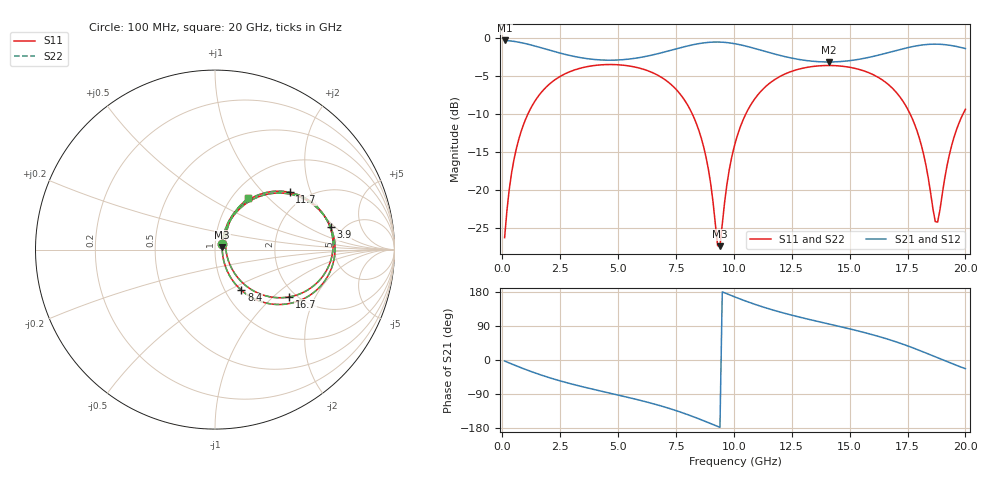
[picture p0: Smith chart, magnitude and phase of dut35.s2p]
! Touchstone file exported from HFSS 2026.1.0
!  File:  C:/ffzhzh/LocalFiles/Ansys_Project_Files/temp_train_TSV_RDL_35_1782964816_15332.aedt
!  Generated:  12:14:12 PM Jul  2, 2026
!  Design:  TSV_RDL
!  Project:  temp_train_TSV_RDL_35_1782964816_15332
! Variables:
!  h_bsmrdl = 4.66um
!  h_ox = 20um
!  h_rdl = 5um
!  h_sub = 74.37um
!  h_tmrdl = 4.17um
!  h_tsv = 74.37um
!  h_via = 3um
!  l_bsmrdl = 741.88um
!  l_sub = 6374.07um
!  l_tmrdl = 917.9um
!  m_sub = 200um
!  pitch = 56.08um
!  r_tsv = 12.53um
!  s_tmrdl = 10um
!  w_bsmrdl = 13.08um
!  w_sub = 500um
!  w_tmrdl = 12.53um
!  x_tsv_center1 = 924.165um
!  x_tsv_center2 = 1679.125um
!  x_tsv_center3 = 2609.555um
!  x_tsv_center4 = 3364.515um
!  x_tsv_center5 = 4294.945um
!  x_tsv_center6 = 5049.905um
# GHz S MA R 50.000000
! Terminal data exported
! Port[1] = TM_RDL1_1_T1
! Port[2] = TM_RDL5_1_T1
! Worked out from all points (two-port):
!   200 points, 100 MHz to 20 GHz, reference 50 ohm
!   highest |S21| = -0.33 dB at 100 MHz (marker M1); lowest = -3.2 dB at 14.1 GHz (marker M2)
!   |S21| within 3 dB of the highest: start of sweep to end of sweep
!   lowest |S11| = -27.3 dB at 9.4 GHz (marker M3), VSWR 1.09, Z = 54.2 + j1.58 ohm
!   |S11| at or under -10 dB: start of sweep to 1.105 GHz; 8.208 GHz to 10.51 GHz (2.307 GHz wide, 24.6 % of centre); 17.62 GHz to 19.89 GHz (2.279 GHz wide, 12.2 % of centre)
!   |S22| runs from -27.5 to -3.5 dB; largest |S21 - S12| = 1.6e-14
!   S11 on the Smith chart (normalised r, x): 100 MHz: 1.08, +0.06; 3.9 GHz: 4.02, +1.75; 8.4 GHz: 1.19, -0.58; 11.7 GHz: 1.64, +1.44; 16.7 GHz: 1.84, -1.27; 20 GHz: 1.19, +0.76
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0.1  0.04888 37.8  0.9623 -2.6  0.9623 -2.6  0.04888 37.8
! Gamma 0 0 0 0
! Port Impedance 50 0 50 0
0.5  0.1577 62.7  0.9489 -12.8  0.9489 -12.8  0.1577 62.7
1.1  0.3151 55.6  0.9102 -27.2  0.9102 -27.2  0.3151 55.6
2.1  0.5071 38.0  0.8258 -47.9  0.8258 -47.9  0.5071 38.0
3.5  0.6398 16.4  0.7371 -71.1  0.7371 -71.1  0.6398 16.4
3.9  0.6567 10.9  0.7237 -76.9  0.7237 -76.9  0.6567 10.9
5.4  0.657 -9.2  0.7241 -98.1  0.7241 -98.1  0.657 -9.2
6.8  0.5596 -29.8  0.7934 -120.2  0.7934 -120.2  0.5596 -29.8
8.4  0.2696 -57.0  0.9125 -153.1  0.9125 -153.1  0.2696 -57.1
8.9  0.1374 -60.2  0.9347 -165.3  0.9347 -165.3  0.1373 -60.5
9.3  0.04324 -17.5  0.9396 -175.3  0.9396 -175.3  0.04275 -17.9
9.4  0.04294 19.9  0.9389 -177.8  0.9389 -177.8  0.04241 20.0
9.7  0.1091 61.5  0.9319 174.7  0.9319 174.7  0.1088 61.7
10.1  0.2153 63.0  0.9127 165.0  0.9127 165.0  0.2151 63.2
11.7  0.5247 37.5  0.7885 131.7  0.7885 131.7  0.5247 37.5
13.4  0.6491 13.1  0.7029 104.9  0.7029 104.9  0.649 13.1
14.1  0.659 4.0  0.695 95.1  0.695 95.1  0.659 4.0
16.7  0.4903 -32.5  0.803 54.0  0.803 54.0  0.4902 -32.6
17.9  0.248 -50.1  0.8877 28.1  0.8877 28.1  0.2479 -50.1
18.7  0.06224 -7.6  0.9103 8.4  0.9103 8.4  0.06185 -7.6
19.4  0.1949 62.4  0.891 -9.0  0.891 -9.0  0.1948 62.5
20  0.3397 57.0  0.8516 -22.9  0.8516 -22.9  0.3397 57.0
